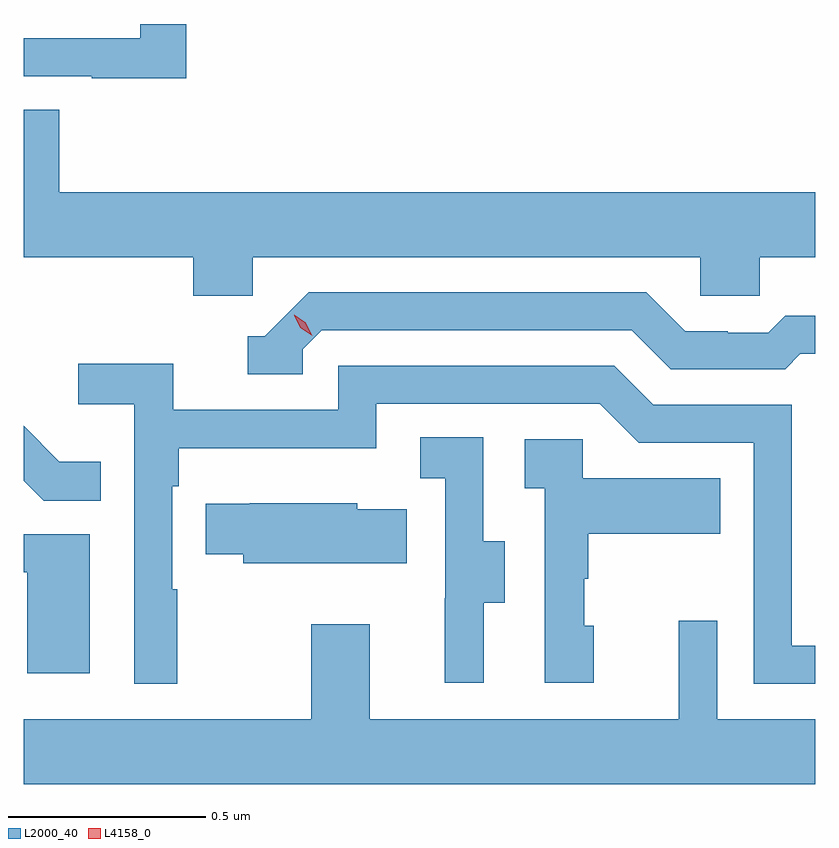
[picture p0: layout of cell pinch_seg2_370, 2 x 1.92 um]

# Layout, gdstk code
import gdstk
lib = gdstk.Library(unit=1e-6, precision=1e-09)
def P(c, l, *ps):  # polygons
    for p in ps: c.add(gdstk.Polygon(p, *l))
L2000_40 = (2000, 40)
L4158_0 = (4158, 0)

pinch_seg2_370 = lib.new_cell('pinch_seg2_370')
P(pinch_seg2_370, L2000_40, [(971.369,642.897),(971.253,642.897),(971.253,642.861),(970.959,642.861),(970.959,642.765),(971.131,642.765),(971.131,642.76),(971.369,642.76)],
  [(971.538,642.308),(972.669,642.308),(972.669,642.21),(972.819,642.21),(972.819,642.308),(972.959,642.308),(972.959,642.472),(971.048,642.472),(971.048,642.68),(970.959,642.68),(970.959,642.308),(971.387,642.308),(971.387,642.21),(971.538,642.21)],
  [(971.664,642.075),(971.712,642.123),(972.495,642.123),(972.594,642.024),(972.883,642.024),(972.922,642.063),(972.959,642.063),(972.959,642.16),(972.883,642.16),(972.841,642.117),(972.738,642.117),(972.738,642.12),(972.631,642.12),(972.532,642.219),(971.679,642.219),(971.568,642.108),(971.525,642.108),(971.525,642.012),(971.664,642.012)],
  [(971.347,641.468),(971.334,641.468),(971.334,641.729),(971.351,641.729),(971.351,641.825),(971.85,641.825),(971.85,641.937),(972.414,641.937),(972.513,641.838),(972.804,641.838),(972.804,641.229),(972.959,641.229),(972.959,641.325),(972.9,641.325),(972.9,641.934),(972.55,641.934),(972.451,642.033),(971.754,642.033),(971.754,641.922),(971.336,641.922),(971.336,642.038),(971.097,642.038),(971.097,641.936),(971.238,641.936),(971.238,641.229),(971.347,641.229)],
  [(971.153,641.791),(971.049,641.791),(970.959,641.881),(970.959,641.742),(971.009,641.692),(971.153,641.692)],
  [(972.121,641.434),(972.175,641.434),(972.175,641.589),(972.12,641.589),(972.12,641.852),(971.961,641.852),(971.961,641.749),(972.024,641.749),(972.024,641.445),(972.023,641.445),(972.023,641.232),(972.121,641.232)],
  [(972.4,641.376),(972.375,641.376),(972.375,641.495),(972.385,641.495),(972.385,641.609),(972.719,641.609),(972.719,641.749),(972.372,641.749),(972.372,641.847),(972.225,641.847),(972.225,641.723),(972.276,641.723),(972.276,641.232),(972.4,641.232)],
  [(971.927,641.671),(971.802,641.671),(971.802,641.686),(971.53,641.686),(971.53,641.685),(971.419,641.685),(971.419,641.557),(971.513,641.557),(971.513,641.534),(971.927,641.534)],
  [(971.125,641.607),(970.959,641.607),(970.959,641.511),(970.967,641.511),(970.967,641.256),(971.125,641.256)],
  [(972.959,641.14),(972.711,641.14),(972.711,641.389),(972.614,641.389),(972.614,641.14),(971.833,641.14),(971.833,641.38),(971.686,641.38),(971.686,641.14),(970.959,641.14),(970.959,640.976),(972.959,640.976)])
P(pinch_seg2_370, L4158_0, [(971.688,642.109),(971.657,642.129),(971.642,642.161),(971.642,642.162),(971.642,642.162),(971.672,642.142),(971.688,642.109),(971.688,642.109)])

lib.write_gds('pinch_seg2_370.gds')
